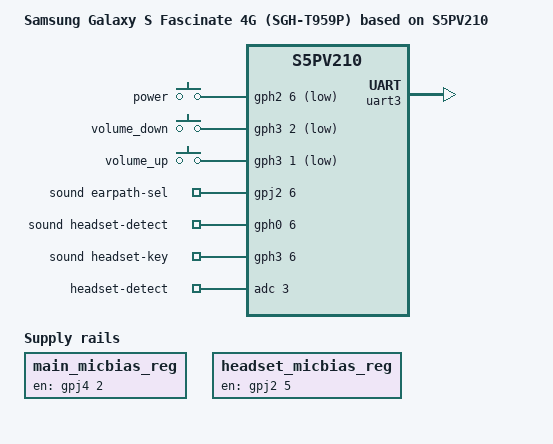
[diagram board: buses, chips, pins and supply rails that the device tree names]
// SPDX-License-Identifier: GPL-2.0

/dts-v1/;
#include <dt-bindings/gpio/gpio.h>
#include <dt-bindings/input/input.h>
#include <dt-bindings/sound/audio-jack-events.h>
#include "s5pv210-aries.dtsi"

/ {
	model = "Samsung Galaxy S Fascinate 4G (SGH-T959P) based on S5PV210";
	compatible = "samsung,fascinate4g", "samsung,aries", "samsung,s5pv210";

	chosen {
		stdout-path = &uart2;
	};

	gpio-keys {
		compatible = "gpio-keys";

		power {
			label = "power";
			gpios = <&gph2 6 GPIO_ACTIVE_LOW>;
			linux,code = <KEY_POWER>;
			wakeup-source;
		};

		vol-down {
			label = "volume_down";
			gpios = <&gph3 2 GPIO_ACTIVE_LOW>;
			linux,code = <KEY_VOLUMEDOWN>;
		};

		vol-up {
			label = "volume_up";
			gpios = <&gph3 1 GPIO_ACTIVE_LOW>;
			linux,code = <KEY_VOLUMEUP>;
		};
	};

	modem {
		compatible = "samsung,onedram-modemctl";

		interrupt-parent = <&gph1>;
		interrupt-names = "active", "onedram";
		interrupts = <7 IRQ_TYPE_EDGE_BOTH>, <3 IRQ_TYPE_LEVEL_LOW>;
		reg = <0x35000000 0x01000000>;

		phone_active-gpio = <&gph1 7 GPIO_ACTIVE_HIGH>;
		pda_active-gpio = <&mp03 3 GPIO_ACTIVE_HIGH>;
		cp_reset-gpio = <&gph1 0 GPIO_ACTIVE_HIGH>;
		int_resout-gpio = <&gph1 4 GPIO_ACTIVE_HIGH>;
		cp_pwr_rst-gpio = <&gph1 1 GPIO_ACTIVE_HIGH>;
		phone_on-gpio = <&gpj1 0 GPIO_ACTIVE_HIGH>;

		cp_rtc-supply = <&ldo6_reg>;
		cp_32khz-supply = <&cp32khz_reg>;

		ste-modem;
		num-pdp-contexts = <3>;

		pinctrl-0 = <&onedram_int &int_resout &cp_pwr_rst &eint15 &phone_on &cp_rst &pda_active>;
		pinctrl-names = "default";
	};

	main_micbias_reg: regulator-main-micbias {
		compatible = "regulator-fixed";
		regulator-name = "Main_Micbias";
		gpio = <&gpj4 2 GPIO_ACTIVE_HIGH>;
		enable-active-high;
	};

	headset_micbias_reg: regulator-headset-micbias {
		compatible = "regulator-fixed";
		regulator-name = "Headset_Micbias";
		gpio = <&gpj2 5 GPIO_ACTIVE_HIGH>;
		enable-active-high;
	};

	sound {
		compatible = "samsung,aries-wm8994";

		samsung,i2s-controller = <&i2s0>;
		samsung,audio-codec = <&wm8994>;

		aif2-slave;

		earpath-sel-gpios = <&gpj2 6 GPIO_ACTIVE_HIGH>;
		main-micbias-supply = <&main_micbias_reg>;
		headset-micbias-supply = <&headset_micbias_reg>;

		io-channels = <&adc 3>;
		io-channel-names = "headset-detect";
		headset-detect-gpios = <&gph0 6 GPIO_ACTIVE_HIGH>;
		headset-key-gpios = <&gph3 6 GPIO_ACTIVE_HIGH>;
		jack-det-adcs = <0 300 300 3700 2147483647>;
		jack-det-delays = <20 10 10 10 10>;
		jack-det-counts = <25 80 80 10 200>;
		jack-types = <JACK_HEADPHONE JACK_HEADPHONE JACK_HEADPHONE (JACK_HEADPHONE | JACK_MICROPHONE) JACK_HEADPHONE>;

		dock-extcon = <&fsa9480>;

		model = "Fascinate4G";
		samsung,audio-routing =
			"HP", "HPOUT1L",
			"HP", "HPOUT1R",

			"SPK", "SPKOUTLN",
			"SPK", "SPKOUTLP",
			"SPK", "SPKOUTRN",
			"SPK", "SPKOUTRP",

			"RCV", "HPOUT2N",
			"RCV", "HPOUT2P",

			"LINE", "LINEOUT2N",
			"LINE", "LINEOUT2P",

			"IN1LP", "Main Mic",
			"IN1LN", "Main Mic",

			"IN1RP", "Headset Mic",
			"IN1RN", "Headset Mic";

		pinctrl-names = "default";
		pinctrl-0 = <&jack_det_irq &media_key_irq>;
	};
};

&pinctrl0 {
	onedram_int: onedram-int {
		samsung,pins = "gph1-3";
		samsung,pin-function = <EXYNOS_PIN_FUNC_F>;
		samsung,pin-pud = <S3C64XX_PIN_PULL_UP>;
	};

	int_resout: int-resout {
		samsung,pins = "gph1-4";
		samsung,pin-function = <EXYNOS_PIN_FUNC_F>;
		samsung,pin-pud = <S3C64XX_PIN_PULL_NONE>;
	};

	cp_pwr_rst: cp-pwr-rst {
		samsung,pins = "gph1-1";
		samsung,pin-function = <EXYNOS_PIN_FUNC_F>;
		samsung,pin-pud = <S3C64XX_PIN_PULL_NONE>;
	};

	phone_on: phone-on {
		samsung,pins = "gpj1-0";
		samsung,pin-function = <EXYNOS_PIN_FUNC_OUTPUT>;
		samsung,pin-pud = <S3C64XX_PIN_PULL_NONE>;
		samsung,pin-val = <0>;
	};

	cp_rst: cp-rst {
		samsung,pins = "gph1-0";
		samsung,pin-pud = <S3C64XX_PIN_PULL_NONE>;
	};

	pda_active: pda-active {
		samsung,pins = "mp03-3";
		samsung,pin-pud = <S3C64XX_PIN_PULL_NONE>;
	};

	jack_det_irq: jack-det-irq {
		samsung,pins = "gph0-6";
		samsung,pin-function = <EXYNOS_PIN_FUNC_EINT>;
	};

	media_key_irq: media-key-irq {
		samsung,pins = "gph3-6";
		samsung,pin-function = <EXYNOS_PIN_FUNC_EINT>;
	};
};

&uart3 {
	status = "okay";
};

&wm8994 {
	wlf,gpio-cfg = <0xa101 0x8100 0x8100 0x8100 0x8100 0xa101
		0x0100 0x8100 0x0100 0x0100 0x0100>;
};
